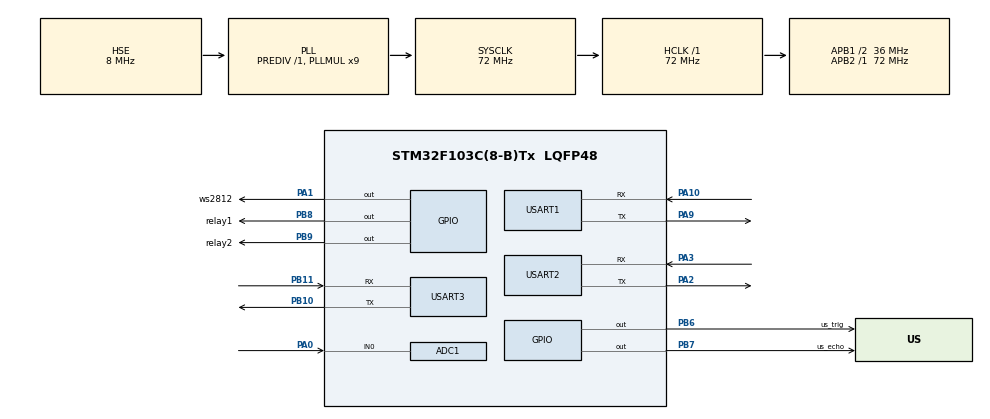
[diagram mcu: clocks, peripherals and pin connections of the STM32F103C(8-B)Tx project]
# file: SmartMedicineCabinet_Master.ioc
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ADC1.Channel-0\#ChannelRegularConversion=ADC_CHANNEL_0
ADC1.ContinuousConvMode=ENABLE
ADC1.NbrOfConversionFlag=1
ADC1.Rank-0\#ChannelRegularConversion=1
ADC1.SamplingTime-0\#ChannelRegularConversion=ADC_SAMPLETIME_1CYCLE_5
ADC1.master=1
Mcu.Family=STM32F1
Mcu.Name=STM32F103C(8-B)Tx
Mcu.Package=LQFP48
NVIC.PriorityGroup=NVIC_PRIORITYGROUP_4
NVIC.USART1_IRQn=true\:0\:0\:false\:false\:true\:true\:true\:true
NVIC.USART2_IRQn=true\:0\:0\:false\:false\:true\:true\:true\:true
NVIC.USART3_IRQn=true\:0\:0\:false\:false\:true\:true\:true\:true
PA0-WKUP.Signal=ADCx_IN0
PA1.GPIO_Label=ws2812
PA1.GPIO_PuPd=GPIO_PULLDOWN
PA1.Signal=GPIO_Output
PA10.Mode=Asynchronous
PA10.Signal=USART1_RX
PA13.Mode=Serial_Wire
PA13.Signal=SYS_JTMS-SWDIO
PA14.Mode=Serial_Wire
PA14.Signal=SYS_JTCK-SWCLK
PA2.Mode=Asynchronous
PA2.Signal=USART2_TX
PA3.Mode=Asynchronous
PA3.Signal=USART2_RX
PA9.Mode=Asynchronous
PA9.Signal=USART1_TX
PB10.Mode=Asynchronous
PB10.Signal=USART3_TX
PB11.Mode=Asynchronous
PB11.Signal=USART3_RX
PB6.GPIO_Label=us_trig
PB6.GPIO_PuPd=GPIO_PULLDOWN
PB6.Signal=GPIO_Output
PB7.GPIO_Label=us_echo
PB7.Signal=GPIO_Output
PB8.GPIO_Label=relay1
PB8.GPIO_PuPd=GPIO_PULLUP
PB8.Signal=GPIO_Output
PB9.GPIO_Label=relay2
PB9.GPIO_PuPd=GPIO_PULLUP
PB9.Signal=GPIO_Output
PD0-OSC_IN.Mode=HSE-External-Oscillator
PD0-OSC_IN.Signal=RCC_OSC_IN
PD1-OSC_OUT.Mode=HSE-External-Oscillator
PD1-OSC_OUT.Signal=RCC_OSC_OUT
ProjectManager.HeapSize=0x200
ProjectManager.StackSize=0x400
ProjectManager.TargetToolchain=MDK-ARM V5.32
RCC.ADCPresc=RCC_ADCPCLK2_DIV6
RCC.AHBFreq_Value=72000000
RCC.APB1CLKDivider=RCC_HCLK_DIV2
RCC.APB1Freq_Value=36000000
RCC.APB1TimFreq_Value=72000000
RCC.APB2Freq_Value=72000000
RCC.APB2TimFreq_Value=72000000
RCC.HCLKFreq_Value=72000000
RCC.PLLMUL=RCC_PLL_MUL9
RCC.PLLSourceVirtual=RCC_PLLSOURCE_HSE
RCC.SYSCLKFreq_VALUE=72000000
RCC.SYSCLKSource=RCC_SYSCLKSOURCE_PLLCLK
RCC.USBFreq_Value=72000000
SH.ADCx_IN0.0=ADC1_IN0,IN0
USART1.VirtualMode=VM_ASYNC
USART2.VirtualMode=VM_ASYNC
USART3.VirtualMode=VM_ASYNC
board=custom

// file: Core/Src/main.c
/* USER CODE BEGIN Header */
/**
  ******************************************************************************
  * @file           : main.c
  * @brief          : Main program body
  ******************************************************************************
  * @attention
  *
  * Copyright (c) 2026 STMicroelectronics.
  * All rights reserved.
  *
  * This software is licensed under terms that can be found in the LICENSE file
  * in the root directory of this software component.
  * If no LICENSE file comes with this software, it is provided AS-IS.
  *
  ******************************************************************************
  */
/* USER CODE END Header */
#include "main.h"
#include "adc.h"
#include "usart.h"
#include "gpio.h"

/* USER CODE BEGIN Includes */
#include "bsp_system.h"
#include "bsp_uart_slave.h"
#include "bsp_uart_k230.h"
#include "bsp_uart_scanner.h"
#include "bsp_uart_wifi.h"
#include "ws2812.h"
#include "app_scheduler.h"
/* USER CODE END Includes */

void SystemClock_Config(void);

int main(void)
{

  /* MCU Configuration--------------------------------------------------------*/

  /* Reset of all peripherals, Initializes the Flash interface and the Systick. */
  HAL_Init();

  /* Configure the system clock */
  SystemClock_Config();

  /* Initialize all configured peripherals */
  MX_GPIO_Init();
  MX_ADC1_Init();
  MX_USART1_UART_Init();
  MX_USART2_UART_Init();
  MX_USART3_UART_Init();
  /* USER CODE BEGIN 2 */
  App_Scheduler_Init();
  /* USER CODE END 2 */

  /* Infinite loop */
  while (1)
  {

    /* USER CODE BEGIN 3 */
		App_Scheduler_Run();
  }
  /* USER CODE END 3 */
}

void SystemClock_Config(void)
{
  RCC_OscInitTypeDef RCC_OscInitStruct = {0};
  RCC_ClkInitTypeDef RCC_ClkInitStruct = {0};
  RCC_PeriphCLKInitTypeDef PeriphClkInit = {0};

  /** Initializes the RCC Oscillators according to the specified parameters
  * in the RCC_OscInitTypeDef structure.
  */
  RCC_OscInitStruct.OscillatorType = RCC_OSCILLATORTYPE_HSE;
  RCC_OscInitStruct.HSEState = RCC_HSE_ON;
  RCC_OscInitStruct.HSEPredivValue = RCC_HSE_PREDIV_DIV1;
  RCC_OscInitStruct.HSIState = RCC_HSI_ON;
  RCC_OscInitStruct.PLL.PLLState = RCC_PLL_ON;
  RCC_OscInitStruct.PLL.PLLSource = RCC_PLLSOURCE_HSE;
  RCC_OscInitStruct.PLL.PLLMUL = RCC_PLL_MUL9;
  if (HAL_RCC_OscConfig(&RCC_OscInitStruct) != HAL_OK)
  {
    Error_Handler();
  }

  /** Initializes the CPU, AHB and APB buses clocks
  */
  RCC_ClkInitStruct.ClockType = RCC_CLOCKTYPE_HCLK|RCC_CLOCKTYPE_SYSCLK
                              |RCC_CLOCKTYPE_PCLK1|RCC_CLOCKTYPE_PCLK2;
  RCC_ClkInitStruct.SYSCLKSource = RCC_SYSCLKSOURCE_PLLCLK;
  RCC_ClkInitStruct.AHBCLKDivider = RCC_SYSCLK_DIV1;
  RCC_ClkInitStruct.APB1CLKDivider = RCC_HCLK_DIV2;
  RCC_ClkInitStruct.APB2CLKDivider = RCC_HCLK_DIV1;

  if (HAL_RCC_ClockConfig(&RCC_ClkInitStruct, FLASH_LATENCY_2) != HAL_OK)
  {
    Error_Handler();
  }
  PeriphClkInit.PeriphClockSelection = RCC_PERIPHCLK_ADC;
  PeriphClkInit.AdcClockSelection = RCC_ADCPCLK2_DIV6;
  if (HAL_RCCEx_PeriphCLKConfig(&PeriphClkInit) != HAL_OK)
  {
    Error_Handler();
  }
}

/* USER CODE BEGIN 4 */
void HAL_UART_RxCpltCallback(UART_HandleTypeDef *huart)
{
	if (huart == &huart1)
	{
			uint8_t b = slave_rx_byte;

			if (b == 0x0D)
			{
					slave_rx_buf[slave_rx_idx] = b;
					slave_rx_len = slave_rx_idx + 1;
					slave_rx_flag = 1;
					slave_rx_idx = 0;
			}
			else if (slave_rx_idx < SLAVE_RX_BUF_SIZE - 1)
			{
					slave_rx_buf[slave_rx_idx++] = b;
			}
			else { slave_rx_idx = 0; }

			HAL_UART_Receive_IT(&huart1, &slave_rx_byte, 1);
	}
	if (huart == &huart2)
	{
		if (uart2_mode == UART2_MODE_SCANNER) {
			uint8_t b = scanner_rx_byte;

			if (b == '\n')
			{
					scanner_rx_buf[scanner_rx_idx] = '\0';
					scanner_rx_len = scanner_rx_idx;
					scanner_rx_flag = 1;
					scanner_rx_idx = 0;
			}
			else if (b != '\r' && scanner_rx_idx < SCANNER_RX_BUF_SIZE - 1)
			{
					scanner_rx_buf[scanner_rx_idx++] = b;
			}
			else { scanner_rx_idx = 0; }

			HAL_UART_Receive_IT(&huart2, &scanner_rx_byte, 1);
		}
		if (uart2_mode == UART2_MODE_WIFI) {
			uint8_t b = wifi_rx_byte;

			if (b == '\n')
			{
					wifi_rx_buf[wifi_rx_idx] = '\0';
					wifi_rx_len = wifi_rx_idx;
					wifi_rx_flag = 1;
					wifi_rx_idx = 0;
			}
			else if (b != '\r' && wifi_rx_idx < WIFI_RX_BUF_SIZE - 1)
			{
					wifi_rx_buf[wifi_rx_idx++] = b;
			}
			else { wifi_rx_idx = 0; }

			HAL_UART_Receive_IT(&huart2, &wifi_rx_byte, 1);
		}
	}
    if (huart == &huart3)
    {
        uint8_t byte = k230_rx_byte;

        if (byte == '\n')
        {
            k230_rx_buf[k230_rx_idx] = '\0';
            k230_rx_len = k230_rx_idx;
            k230_rx_flag = 1;
            k230_rx_idx = 0;
        }
        else if (k230_rx_idx < K230_RX_BUF_SIZE - 1)
        {
            k230_rx_buf[k230_rx_idx++] = byte;
        }
        else
        {
            k230_rx_idx = 0;
        }

        HAL_UART_Receive_IT(&huart3, &k230_rx_byte, 1);
    }
}
/* USER CODE END 4 */

void Error_Handler(void)
{
  __disable_irq();
  while (1)
  {
  }
}
